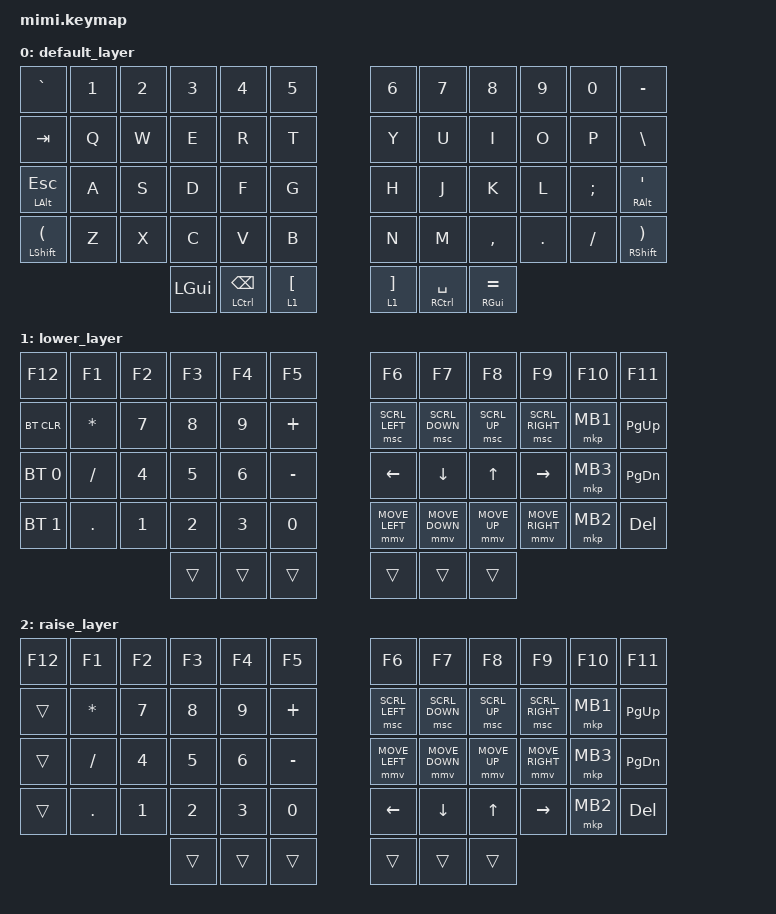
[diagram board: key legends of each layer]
/*
 * Copyright (c) 2020 The ZMK Contributors
 *
 * SPDX-License-Identifier: MIT
 */
#define ZMK_POINTING_DEFAULT_MOVE_VAL 1000  // default: 600
#define ZMK_POINTING_DEFAULT_SCRL_VAL 16    // default: 10

#include <behaviors.dtsi>
#include <dt-bindings/zmk/keys.h>
#include <dt-bindings/zmk/bt.h>
#include <dt-bindings/zmk/ext_power.h>
#include <dt-bindings/zmk/pointing.h>

&mt {
    flavor = "hold-preferred";
    tapping-term-ms = <220>;
    quick-tap-ms = <180>;
    require-prior-idle-ms = <160>;
};

&lt {
    flavor = "hold-preferred";
    tapping-term-ms = <220>;
    quick-tap-ms = <180>;
    require-prior-idle-ms = <160>;
};

&caps_word {
    continue-list = <UNDERSCORE MINUS>;
};

/ {
    behaviors {
        hml: home_row_mod_left {
            compatible = "zmk,behavior-hold-tap";
            #binding-cells = <2>;
            flavor = "balanced";
            tapping-term-ms = <220>;
            quick-tap-ms = <180>;
            require-prior-idle-ms = <160>;
            bindings = <&kp>, <&kp>;
            hold-trigger-key-positions = <6 7 8 9 10 11 18 19 20 21 22 23 30 31 32 33 34 35 42 43 44 45 46 47>;
            hold-trigger-on-release;
        };
        hmr: home_row_mod_right {
            compatible = "zmk,behavior-hold-tap";
            #binding-cells = <2>;
            flavor = "balanced";
            tapping-term-ms = <220>;
            quick-tap-ms = <180>;
            require-prior-idle-ms = <160>;
            bindings = <&kp>, <&kp>;
            hold-trigger-key-positions = <0 1 2 3 4 5 12 13 14 15 16 17 24 25 26 27 28 29 36 37 38 39 40 41>;
            hold-trigger-on-release;
        };
    };
};

/ {
    combos {
        compatible = "zmk,combos";
        combo_enter {
            timeout-ms = <15>;
            key-positions = <31 32>; // jk -> enter
            bindings = <&kp RET>;
            require-prior-idle-ms = <160>;
        };
        combo_up {
            timeout-ms = <15>;
            key-positions = <19 20>; // ui -> up
            bindings = <&kp UP>;
            require-prior-idle-ms = <160>;
        };
        combo_down {
            timeout-ms = <15>;
            key-positions = <43 44>; // m, -> down
            bindings = <&kp DOWN>;
            require-prior-idle-ms = <160>;
        };
        combo_capsword_df {
            timeout-ms = <15>;
            key-positions = <27 28>; // df -> cap words
            bindings = <&caps_word>;
            require-prior-idle-ms = <160>;
        };
        /* combo_left { */
        /*     timeout-ms = <15>; */
        /*     key-positions = <15 16>; // er -> left */
        /*     bindings = <&kp LEFT>; */
        /*     require-prior-idle-ms = <160>; */
        /* }; */
        /* combo_right { */
        /*     timeout-ms = <15>; */
        /*     key-positions = <39 40>; // cv -> right */
        /*     bindings = <&kp RIGHT>; */
        /*     require-prior-idle-ms = <160>; */
        /* }; */
        /* combo_parent_rt { */
        /*     timeout-ms = <15>; */
        /*     key-positions = <16 17>; // rt -> open parenthesis */
        /*     bindings = <&kp LPAR>; */
        /* }; */
        /* combo_parent_yu { */
        /*     timeout-ms = <15>; */
        /*     key-positions = <18 19>; // yu -> close parenthesis */
        /*     bindings = <&kp RPAR>; */
        /* }; */
        /* combo_square_fg { */
        /*     timeout-ms = <15>; */
        /*     key-positions = <28 29>; // fg -> open square bracket */
        /*     bindings = <&kp LBKT>; */
        /* }; */
        /* combo_square_hj { */
        /*     timeout-ms = <15>; */
        /*     key-positions = <30 31>; // hj -> close square bracket */
        /*     bindings = <&kp RBKT>; */
        /* }; */
        /* combo_curly_vb { */
        /*     timeout-ms = <15>; */
        /*     key-positions = <40 41>; // vb -> open curly bracket */
        /*     bindings = <&kp LBRC>; */
        /* }; */
        /* combo_curly_nm { */
        /*     timeout-ms = <15>; */
        /*     key-positions = <42 43>; // nm -> close curly bracket */
        /*     bindings = <&kp RBRC>; */
        /* }; */
    };
};

/ {
    keymap {
        compatible = "zmk,keymap";

        default_layer {
            bindings = <
&kp GRAVE       &kp N1 &kp N2   &kp N3   &kp N4    &kp N5                              &kp N6          &kp N7    &kp N8    &kp N9   &kp N0    &kp MINUS
&kp TAB         &kp Q  &kp W    &kp E    &kp R     &kp T                               &kp Y           &kp U     &kp I     &kp O    &kp P     &kp BSLH
&mt LALT ESC    &kp A  &kp S    &kp D    &kp F     &kp G                               &kp H           &kp J     &kp K     &kp L    &kp SEMI  &mt RALT SQT
&mt LSHFT LPAR  &kp Z  &kp X    &kp C    &kp V     &kp B                               &kp N           &kp M     &kp COMMA &kp DOT  &kp FSLH  &mt RSHFT RPAR
                                &kp LGUI &hml LCTRL BSPC  &lt 1 LBKT         &lt 1 RBKT &hmr RCTRL SPACE &hmr RGUI EQUAL
            >;
        };

        lower_layer {
            bindings = <
&kp F12      &kp F1    &kp F2   &kp F3   &kp F4   &kp F5                               &kp F6         &kp F7         &kp F8       &kp F9          &kp F10   &kp F11
&bt BT_CLR   &kp STAR  &kp N7   &kp N8   &kp N9   &kp PLUS                             &msc SCRL_LEFT &msc SCRL_DOWN &msc SCRL_UP &msc SCRL_RIGHT &mkp MB1  &kp PG_UP
&bt BT_SEL 0 &kp FSLH  &kp N4   &kp N5   &kp N6   &kp MINUS                            &kp LEFT       &kp DOWN       &kp UP       &kp RIGHT       &mkp MB3  &kp PG_DN
&bt BT_SEL 1 &kp DOT   &kp N1   &kp N2   &kp N3   &kp N0                               &mmv MOVE_LEFT &mmv MOVE_DOWN &mmv MOVE_UP &mmv MOVE_RIGHT &mkp MB2  &kp DEL
                                         &trans   &trans   &trans             &trans   &trans         &trans
            >;
        };

        raise_layer {
            bindings = <
&kp F12      &kp F1    &kp F2   &kp F3   &kp F4   &kp F5                               &kp F6         &kp F7         &kp F8       &kp F9          &kp F10   &kp F11
&trans       &kp STAR  &kp N7   &kp N8   &kp N9   &kp PLUS                             &msc SCRL_LEFT &msc SCRL_DOWN &msc SCRL_UP &msc SCRL_RIGHT &mkp MB1  &kp PG_UP
&trans       &kp FSLH  &kp N4   &kp N5   &kp N6   &kp MINUS                            &mmv MOVE_LEFT &mmv MOVE_DOWN &mmv MOVE_UP &mmv MOVE_RIGHT &mkp MB3  &kp PG_DN
&trans       &kp DOT   &kp N1   &kp N2   &kp N3   &kp N0                               &kp LEFT       &kp DOWN       &kp UP       &kp RIGHT       &mkp MB2  &kp DEL
                                 &trans   &trans  &trans                               &trans        &trans          &trans
            >;
        };
    };
};
